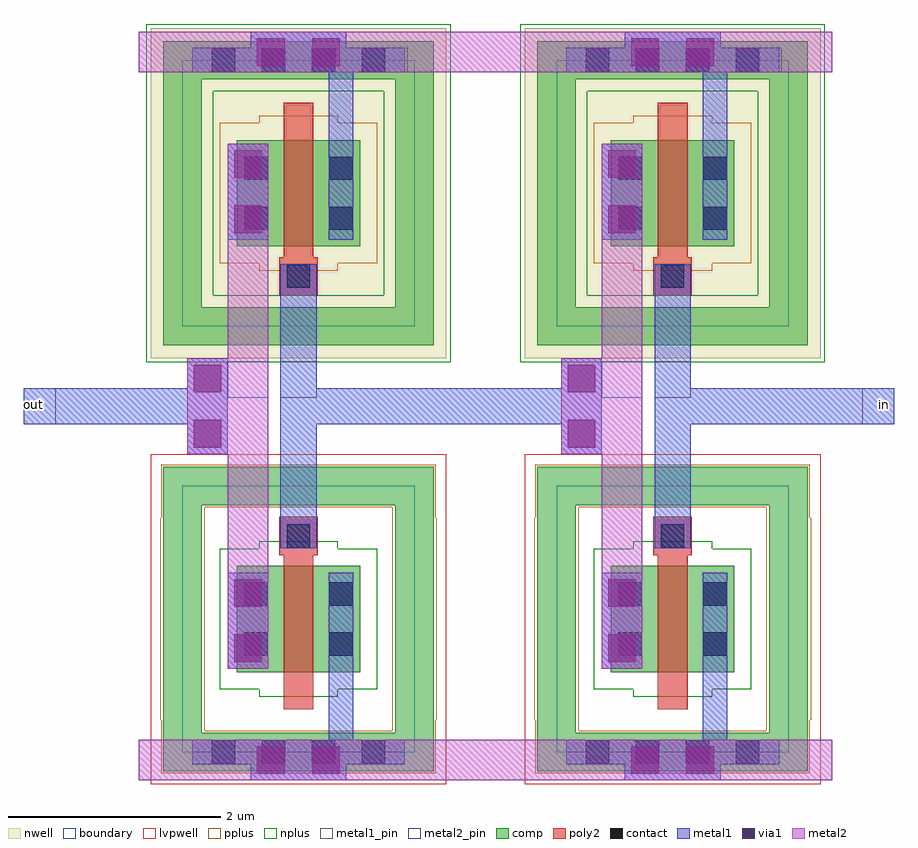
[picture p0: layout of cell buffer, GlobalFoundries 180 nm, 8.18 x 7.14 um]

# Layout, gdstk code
from math import pi, radians
import gdstk
lib = gdstk.Library(unit=1e-6, precision=1e-09)
def R(c, l, rs):  # rectangles x0, y0, x1, y1
    for r in rs: c.add(gdstk.rectangle(r[:2], r[2:], *l))
def A(c, l, x, y, w, h, nx, ny, dx, dy):  # array of equal rectangles
    R(c, l, [(x+i*dx, y+j*dy, x+i*dx+w, y+j*dy+h) for i in range(nx) for j in range(ny)])
boundary = (0, 0)
nwell = (21, 0)
comp = (22, 0)
poly2 = (30, 0)
pplus = (31, 0)
nplus = (32, 0)
contact = (33, 0)
metal1 = (34, 0)
metal1_pin = (34, 10)
via1 = (35, 0)
metal2 = (36, 0)
metal2_pin = (36, 10)
lvpwell = (204, 0)

xm1 = lib.new_cell('XM1')
R(xm1, boundary, [(-1.09,-1.75,1.09,0.75)])
R(xm1, comp, [(-1.27,-1.93,1.27,-1.57), (-1.27,-1.57,-0.91,0.57), (0.91,-1.57,1.27,0.57), (-0.58,-1,0.58,0), (-1.27,0.57,1.27,0.93)])
R(xm1, poly2, [(-0.14,-1.35,0.14,0.1), (-0.18,0.1,0.18,0.46)])
R(xm1, pplus, [(-1.29,-1.95,1.29,-1.55), (-1.29,-1.55,-0.88,-1.445), (0.88,-1.55,1.29,-1.445), (-1.3,-1.445,-0.88,0.445), (0.88,-1.445,1.3,0.445), (-1.29,0.445,-0.88,0.55), (0.88,0.445,1.29,0.55), (-1.29,0.55,1.29,0.95)])
R(xm1, nplus, [(-0.37,-1.23,0.37,-1.16), (-0.74,-1.16,0.74,0.16), (-0.37,0.16,0.37,0.23)])
A(xm1, contact, -0.815, -1.86, 0.22, 0.22, 4, 1, 0.47, 0)
R(xm1, contact, [(-0.51,-0.845,-0.29,-0.625), (0.29,-0.845,0.51,-0.625), (-0.51,-0.375,-0.29,-0.155), (0.29,-0.375,0.51,-0.155), (-0.11,0.17,0.11,0.39)])
R(xm1, metal1, [(-1,-1.865,1,-1.635), (-0.515,-1.75,-0.285,-0.065), (0.285,-0.935,0.515,-0.065), (-0.17,0.165,0.17,0.395)])
R(xm1, lvpwell, [(-1.39,-2.05,1.39,1.05)])

xm2 = lib.new_cell('XM2')
R(xm2, boundary, [(-1.09,-1.25,1.09,1.25)])
R(xm2, nwell, [(-1.39,-1.55,1.39,1.55)])
R(xm2, comp, [(-1.27,-1.43,1.27,-1.07), (-1.27,-1.07,-0.91,1.07), (0.91,-1.07,1.27,1.07), (-0.58,-0.5,0.58,0.5), (-1.27,1.07,1.27,1.43)])
R(xm2, poly2, [(-0.14,-0.85,0.14,0.6), (-0.18,0.6,0.18,0.96)])
R(xm2, pplus, [(-0.37,-0.73,0.37,-0.66), (-0.74,-0.66,0.74,0.66), (-0.37,0.66,0.37,0.73)])
R(xm2, nplus, [(-1.43,-1.59,1.43,-0.96), (-1.43,-0.96,-0.8,0.96), (0.8,-0.96,1.43,0.96), (-1.43,0.96,1.43,1.59)])
A(xm2, contact, -0.815, -1.36, 0.22, 0.22, 4, 1, 0.47, 0)
R(xm2, contact, [(-0.51,-0.345,-0.29,-0.125), (0.29,-0.345,0.51,-0.125), (-0.51,0.125,-0.29,0.345), (0.29,0.125,0.51,0.345), (-0.11,0.67,0.11,0.89)])
R(xm2, metal1, [(-1,-1.365,1,-1.135), (0.285,-1.25,0.515,0.435), (-0.515,-0.435,-0.285,0.435), (-0.17,0.665,0.17,0.895)])

inv = lib.new_cell('inv')
R(inv, metal1, [(-0.45,-5.515,0.45,-5.135), (0.285,-4.465,0.665,-3.565), (-0.17,-3.335,0.17,-0.665), (0.285,-0.435,0.665,0.465), (-0.45,1.135,0.45,1.515)])
R(inv, metal1_pin, [(-1,-5.365,-0.77,-5.135), (-0.17,-1.92,0.17,-1.58), (-1.025,1.135,-0.795,1.365)])
R(inv, via1, [(-0.39,-5.455,-0.13,-5.195), (0.13,-5.455,0.39,-5.195), (0.345,-4.405,0.605,-4.145), (0.345,-3.885,0.605,-3.625), (0.345,-0.375,0.605,-0.115), (0.345,0.145,0.605,0.405), (-0.39,1.195,-0.13,1.455), (0.13,1.195,0.39,1.455)])
R(inv, metal2, [(-1.5,-5.515,1.5,-5.135), (-0.45,-5.515,0.45,-5.135), (0.285,-4.465,0.665,-3.565), (0.285,-4.465,0.665,0.465), (0.285,-0.435,0.665,0.465), (-1.5,1.135,1.5,1.515), (-0.45,1.135,0.45,1.515)])
R(inv, metal2_pin, [(0.285,-1.92,0.665,-1.58)])
inv.add(gdstk.Reference(xm1, (0,-3.5)))
inv.add(gdstk.Reference(xm2, (0,0), rotation=pi))
inv.add(gdstk.Label('in', (-0.001,-1.737), layer=34, texttype=10))
inv.add(gdstk.Label('vdd', (-0.911,1.25), layer=34, texttype=10))
inv.add(gdstk.Label('vss', (-0.886,-5.25), layer=34, texttype=10))
inv.add(gdstk.Label('out', (0.47,-1.748), layer=36, texttype=10))

buffer = lib.new_cell('buffer')
R(buffer, metal1, [(-2.553,-0.47,-2.173,0.43), (0.962,-0.47,1.342,0.43), (-4.09,-0.19,-2.178,0.15), (-1.678,-0.19,1.342,0.15), (2.178,-0.19,4.09,0.15)])
R(buffer, metal1_pin, [(-4.09,-0.19,-3.79,0.15), (3.79,-0.19,4.09,0.15)])
R(buffer, via1, [(-2.493,-0.41,-2.233,-0.15), (1.022,-0.41,1.282,-0.15), (-2.493,0.11,-2.233,0.37), (1.022,0.11,1.282,0.37)])
R(buffer, metal2, [(-3.008,-3.535,3.508,-3.155), (-2.553,-0.47,-2.173,0.43), (0.962,-0.47,1.342,0.43), (-3.008,3.115,3.508,3.495)])
buffer.add(gdstk.Reference(inv, (-1.508,1.98), rotation=pi, x_reflection=True))
buffer.add(gdstk.Reference(inv, (2.007,1.98), rotation=pi, x_reflection=True))
buffer.add(gdstk.Label('in', (4,0), layer=34, texttype=10))
buffer.add(gdstk.Label('out', (-4,0), layer=34, texttype=10))

lib.write_gds('buffer.gds')
